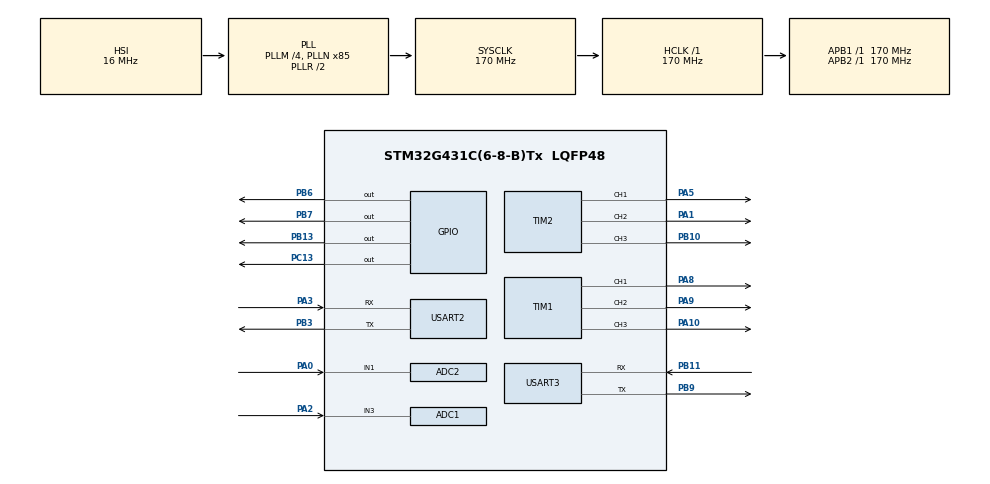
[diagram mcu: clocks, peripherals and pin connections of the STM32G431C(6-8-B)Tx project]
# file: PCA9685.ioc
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ADC1.ContinuousConvMode=ENABLE
ADC1.EnableInjectedConversion=ENABLE
ADC1.EnableRegularConversion=DISABLE
ADC1.ExternalTrigInjecConv=ADC_EXTERNALTRIGINJEC_T1_TRGO
ADC1.InjNumberOfConversion=1
ADC1.InjectedChannel-1\#ChannelInjectedConversion=ADC_CHANNEL_3
ADC1.InjectedOffsetNumber-1\#ChannelInjectedConversion=ADC_OFFSET_NONE
ADC1.InjectedRank-1\#ChannelInjectedConversion=1
ADC1.InjectedSamplingTime-1\#ChannelInjectedConversion=ADC_SAMPLETIME_2CYCLES_5
ADC1.Mode=ADC_DUALMODE_INJECSIMULT
ADC1.Rank1_Channel=ADC_CHANNEL_3
ADC1.master=1
ADC2.EnableInjectedConversion=ENABLE
ADC2.EnableInjectedOversampling=ENABLE
ADC2.EnableRegularConversion=DISABLE
ADC2.InjNumberOfConversion=1
ADC2.InjectedChannel-1\#ChannelInjectedConversion=ADC_CHANNEL_1
ADC2.InjectedOffsetNumber-1\#ChannelInjectedConversion=ADC_OFFSET_NONE
ADC2.InjectedRank-1\#ChannelInjectedConversion=1
ADC2.InjectedSamplingTime-1\#ChannelInjectedConversion=ADC_SAMPLETIME_2CYCLES_5
ADC2.Mode=ADC_DUALMODE_INJECSIMULT
ADC2.Rank1_Channel=ADC_CHANNEL_1
Dma.Request0=USART2_RX
Dma.Request1=USART2_TX
Dma.Request2=USART3_RX
Dma.Request3=USART3_TX
Dma.USART2_RX.0.Direction=DMA_PERIPH_TO_MEMORY
Dma.USART2_RX.0.EventEnable=DISABLE
Dma.USART2_RX.0.Instance=DMA1_Channel1
Dma.USART2_RX.0.MemDataAlignment=DMA_MDATAALIGN_BYTE
Dma.USART2_RX.0.MemInc=DMA_MINC_ENABLE
Dma.USART2_RX.0.Mode=DMA_NORMAL
Dma.USART2_RX.0.PeriphDataAlignment=DMA_PDATAALIGN_BYTE
Dma.USART2_RX.0.PeriphInc=DMA_PINC_DISABLE
Dma.USART2_RX.0.Polarity=HAL_DMAMUX_REQ_GEN_RISING
Dma.USART2_RX.0.Priority=DMA_PRIORITY_LOW
Dma.USART2_RX.0.RequestNumber=1
Dma.USART2_RX.0.SignalID=NONE
Dma.USART2_RX.0.SyncEnable=DISABLE
Dma.USART2_RX.0.SyncPolarity=HAL_DMAMUX_SYNC_NO_EVENT
Dma.USART2_RX.0.SyncRequestNumber=1
Dma.USART2_RX.0.SyncSignalID=NONE
Dma.USART2_TX.1.Direction=DMA_MEMORY_TO_PERIPH
Dma.USART2_TX.1.EventEnable=DISABLE
Dma.USART2_TX.1.Instance=DMA1_Channel2
Dma.USART2_TX.1.MemDataAlignment=DMA_MDATAALIGN_BYTE
Dma.USART2_TX.1.MemInc=DMA_MINC_ENABLE
Dma.USART2_TX.1.Mode=DMA_NORMAL
Dma.USART2_TX.1.PeriphDataAlignment=DMA_PDATAALIGN_BYTE
Dma.USART2_TX.1.PeriphInc=DMA_PINC_DISABLE
Dma.USART2_TX.1.Polarity=HAL_DMAMUX_REQ_GEN_RISING
Dma.USART2_TX.1.Priority=DMA_PRIORITY_LOW
Dma.USART2_TX.1.RequestNumber=1
Dma.USART2_TX.1.SignalID=NONE
Dma.USART2_TX.1.SyncEnable=DISABLE
Dma.USART2_TX.1.SyncPolarity=HAL_DMAMUX_SYNC_NO_EVENT
Dma.USART2_TX.1.SyncRequestNumber=1
Dma.USART2_TX.1.SyncSignalID=NONE
Dma.USART3_RX.2.Direction=DMA_PERIPH_TO_MEMORY
Dma.USART3_RX.2.EventEnable=DISABLE
Dma.USART3_RX.2.Instance=DMA1_Channel3
Dma.USART3_RX.2.MemDataAlignment=DMA_MDATAALIGN_BYTE
Dma.USART3_RX.2.MemInc=DMA_MINC_ENABLE
Dma.USART3_RX.2.Mode=DMA_NORMAL
Dma.USART3_RX.2.PeriphDataAlignment=DMA_PDATAALIGN_BYTE
Dma.USART3_RX.2.PeriphInc=DMA_PINC_DISABLE
Dma.USART3_RX.2.Polarity=HAL_DMAMUX_REQ_GEN_RISING
Dma.USART3_RX.2.Priority=DMA_PRIORITY_LOW
Dma.USART3_RX.2.RequestNumber=1
Dma.USART3_RX.2.SignalID=NONE
Dma.USART3_RX.2.SyncEnable=DISABLE
Dma.USART3_RX.2.SyncPolarity=HAL_DMAMUX_SYNC_NO_EVENT
Dma.USART3_RX.2.SyncRequestNumber=1
Dma.USART3_RX.2.SyncSignalID=NONE
Dma.USART3_TX.3.Direction=DMA_MEMORY_TO_PERIPH
Dma.USART3_TX.3.EventEnable=DISABLE
Dma.USART3_TX.3.Instance=DMA1_Channel4
Dma.USART3_TX.3.MemDataAlignment=DMA_MDATAALIGN_BYTE
Dma.USART3_TX.3.MemInc=DMA_MINC_ENABLE
Dma.USART3_TX.3.Mode=DMA_NORMAL
Dma.USART3_TX.3.PeriphDataAlignment=DMA_PDATAALIGN_BYTE
Dma.USART3_TX.3.PeriphInc=DMA_PINC_DISABLE
Dma.USART3_TX.3.Polarity=HAL_DMAMUX_REQ_GEN_RISING
Dma.USART3_TX.3.Priority=DMA_PRIORITY_LOW
Dma.USART3_TX.3.RequestNumber=1
Dma.USART3_TX.3.SignalID=NONE
Dma.USART3_TX.3.SyncEnable=DISABLE
Dma.USART3_TX.3.SyncPolarity=HAL_DMAMUX_SYNC_NO_EVENT
Dma.USART3_TX.3.SyncRequestNumber=1
Dma.USART3_TX.3.SyncSignalID=NONE
Mcu.Family=STM32G4
Mcu.Name=STM32G431C(6-8-B)Tx
Mcu.Package=LQFP48
Mcu.UserConstants=speed_calc_freq,motor_speed_calc_freq
NVIC.ADC1_2_IRQn=true\:0\:0\:false\:false\:true\:true\:true\:true
NVIC.DMA1_Channel1_IRQn=true\:0\:0\:false\:false\:true\:false\:true\:true
NVIC.DMA1_Channel2_IRQn=true\:0\:0\:false\:false\:true\:false\:true\:true
NVIC.DMA1_Channel3_IRQn=true\:0\:0\:false\:false\:true\:false\:true\:true
NVIC.DMA1_Channel4_IRQn=true\:0\:0\:false\:false\:true\:false\:true\:true
NVIC.PriorityGroup=NVIC_PRIORITYGROUP_4
NVIC.TIM4_IRQn=true\:0\:0\:false\:false\:true\:true\:true\:true
NVIC.USART2_IRQn=true\:0\:0\:false\:false\:true\:true\:true\:true
NVIC.USART3_IRQn=true\:0\:0\:false\:false\:true\:true\:true\:true
PA0.Mode=IN1-Single-Ended
PA0.Signal=ADC2_IN1
PA1.Signal=S_TIM2_CH2
PA10.Signal=S_TIM1_CH3
PA13.Mode=Serial_Wire
PA13.Signal=SYS_JTMS-SWDIO
PA14.Mode=Serial_Wire
PA14.Signal=SYS_JTCK-SWCLK
PA2.Mode=IN3-Single-Ended
PA2.Signal=ADC1_IN3
PA3.Mode=Asynchronous
PA3.Signal=USART2_RX
PA5.Signal=S_TIM2_CH1
PA8.Signal=S_TIM1_CH1
PA9.Signal=S_TIM1_CH2
PB10.Signal=S_TIM2_CH3
PB11.Mode=Asynchronous
PB11.Signal=USART3_RX
PB13.Signal=GPIO_Output
PB3.Mode=Asynchronous
PB3.Signal=USART2_TX
PB6.Signal=GPIO_Output
PB7.Signal=GPIO_Output
PB9.Mode=Asynchronous
PB9.Signal=USART3_TX
PC13.Signal=GPIO_Output
PF0-OSC_IN.Mode=HSE-External-Oscillator
PF0-OSC_IN.Signal=RCC_OSC_IN
PF1-OSC_OUT.Mode=HSE-External-Oscillator
PF1-OSC_OUT.Signal=RCC_OSC_OUT
ProjectManager.HeapSize=0x200
ProjectManager.StackSize=0x600
ProjectManager.TargetToolchain=MDK-ARM V5.32
RCC.ADC12Freq_Value=170000000
RCC.AHBFreq_Value=170000000
RCC.APB1Freq_Value=170000000
RCC.APB1TimFreq_Value=170000000
RCC.APB2Freq_Value=170000000
RCC.APB2TimFreq_Value=170000000
RCC.CortexFreq_Value=170000000
RCC.EXTERNAL_CLOCK_VALUE=12288000
RCC.HCLKFreq_Value=170000000
RCC.HSE_VALUE=8000000
RCC.HSI48_VALUE=48000000
RCC.HSI_VALUE=16000000
RCC.LSE_VALUE=32768
RCC.PLLM=RCC_PLLM_DIV4
RCC.PLLN=85
RCC.SYSCLKFreq_VALUE=170000000
RCC.SYSCLKSource=RCC_SYSCLKSOURCE_PLLCLK
RCC.USBFreq_Value=170000000
RCC.VCOOutputFreq_Value=340000000
SH.S_TIM1_CH1.0=TIM1_CH1,PWM Generation1 CH1
SH.S_TIM1_CH2.0=TIM1_CH2,PWM Generation2 CH2
SH.S_TIM1_CH3.0=TIM1_CH3,PWM Generation3 CH3
SH.S_TIM2_CH1.0=TIM2_CH1,PWM Generation1 CH1
SH.S_TIM2_CH2.0=TIM2_CH2,PWM Generation2 CH2
SH.S_TIM2_CH3.0=TIM2_CH3,PWM Generation3 CH3
STMicroelectronics.X-CUBE-ALGOBUILD.1.4.0.LibraryCcDSPOoLibraryJjDSPOoLibrary=true
TIM1.AutoReloadPreload=TIM_AUTORELOAD_PRELOAD_ENABLE
TIM1.Channel-PWM\ Generation1\ CH1=TIM_CHANNEL_1
TIM1.Channel-PWM\ Generation2\ CH2=TIM_CHANNEL_2
TIM1.Channel-PWM\ Generation3\ CH3=TIM_CHANNEL_3
TIM1.CounterMode=TIM_COUNTERMODE_CENTERALIGNED3
TIM1.PeriodNoDither=170*1000000/motor_pwm_freq
TIM1.RepetitionCounter=4
TIM1.TIM_MasterOutputTrigger=TIM_TRGO_UPDATE
TIM2.Channel-PWM\ Generation1\ CH1=TIM_CHANNEL_1
TIM2.Channel-PWM\ Generation2\ CH2=TIM_CHANNEL_2
TIM2.Channel-PWM\ Generation3\ CH3=TIM_CHANNEL_3
TIM2.ClockDivision=TIM_CLOCKDIVISION_DIV2
TIM4.PeriodNoDither=1000000/speed_calc_freq
TIM4.Prescaler=170-1
TIM6.AutoReloadPreload=TIM_AUTORELOAD_PRELOAD_ENABLE
TIM6.Dithering=Disable
TIM6.PeriodNoDither=1000
TIM6.Prescaler=170-1
USART2.VirtualMode-Asynchronous=VM_ASYNC
USART3.VirtualMode-Asynchronous=VM_ASYNC
VP_STMicroelectronics.X-CUBE-ALGOBUILD_VS_DSPOoLibraryJjLibrary_1.4.0_1.4.0.Mode=DSPOoLibraryJjLibrary
VP_SYS_VS_DBSignals.Mode=DisableDeadBatterySignals
VP_TIM1_VS_ClockSourceINT.Mode=Internal
VP_TIM2_VS_ClockSourceINT.Mode=Internal
VP_TIM4_VS_ClockSourceINT.Mode=Internal
VP_TIM6_VS_ClockSourceINT.Mode=Enable_Timer
board=custom

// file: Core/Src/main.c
/* USER CODE BEGIN Header */
/**
  ******************************************************************************
  * @file           : main.c
  * @brief          : Main program body
  ******************************************************************************
  * @attention
  *
  * Copyright (c) 2025 STMicroelectronics.
  * All rights reserved.
  *
  * This software is licensed under terms that can be found in the LICENSE file
  * in the root directory of this software component.
  * If no LICENSE file comes with this software, it is provided AS-IS.
  *
  ******************************************************************************
  */
/* USER CODE END Header */
#include "main.h"
#include "adc.h"
#include "dma.h"
#include "tim.h"
#include "usart.h"
#include "gpio.h"

/* USER CODE BEGIN Includes */
#include "bsp_pca9685.h"
#include <stdio.h>
#include <foc.h>
#include <stdio.h>
#include "motor_runtime_param.h"
#include "foc.h"

#include "arm_math.h"
#include "MagneticSensor.h"
#include "filter.h"
int fputc(int c, FILE *stream)
{
  uint8_t ch[] = {(uint8_t)c};
  HAL_UART_Transmit(&huart2, ch, 1, HAL_MAX_DELAY);
  return c;
}
/* USER CODE END Includes */

void SystemClock_Config(void);
/* USER CODE BEGIN PFP */
#define DLY_TIM_Handle  (&htim6)
void delay_us(uint32_t nus)
{
	__HAL_TIM_SET_COUNTER(DLY_TIM_Handle, 0);
	__HAL_TIM_ENABLE(DLY_TIM_Handle);
	while (__HAL_TIM_GET_COUNTER(DLY_TIM_Handle) < nus)
	{
	}
	__HAL_TIM_DISABLE(DLY_TIM_Handle);
}

// // ���ã�Delay_us_Asm(170); // 170 cycles �� 1us��170MHz�£�
void delay_1ms(uint32_t Delay)
{
    delay_us(Delay * 1000); // 170MHz�£�1us��Լ��Ҫ170������
}
uint8_t receivedata[8];
void HAL_UARTEx_RxEventCallback(UART_HandleTypeDef *huart, uint16_t Size)
{
	// printf("suc\n");
	if(huart == &huart3){
		if(receivedata[0] == 0xAA &&receivedata[1] == 0xFF && receivedata[2] == 0x00&& receivedata[3] == 0x20)
			{
                  motor_control_context.speed = receivedata[4];
		}

	}
//	receivedata_1 = {0,0,0,0,0,0,0,0};
	HAL_UARTEx_ReceiveToIdle_DMA(&huart3,receivedata,sizeof(receivedata));

	// __HAL_DMA_DISABLE_IT(&hdma_usart2_rx,DMA_IT_HT);
}
/* USER CODE END PFP */

/* USER CODE BEGIN 0 */
void HAL_ADCEx_InjectedConvCpltCallback(ADC_HandleTypeDef *hadc)
{
    if (hadc->Instance == ADC1)
  {

  }
}
extern motor_control_context_t motor_control_context;

float _motor_i_d = 0;
float _motor_i_q = 0.9;
  extern float B_Gain_c;

//速度环PID
extern float P_Gain_s;      // 比例增益
 extern   float I_Gain_s;      // 积分增益
  extern  float B_Gain_s;      // 抗饱和增益

extern  arm_pid_instance_f32 pid_speed;
extern float encoder_angle;
extern float motor_speed;
/* USER CODE END 0 */

int main(void)
{

  /* MCU Configuration--------------------------------------------------------*/

  /* Reset of all peripherals, Initializes the Flash interface and the Systick. */
  HAL_Init();

  /* Configure the system clock */
  SystemClock_Config();

  /* Initialize all configured peripherals */
  MX_GPIO_Init();
  MX_DMA_Init();
  MX_TIM4_Init();
  MX_TIM6_Init();
  MX_TIM1_Init();
  MX_TIM2_Init();
  MX_USART2_UART_Init();
  MX_ADC1_Init();
  MX_ADC2_Init();
  MX_USART3_UART_Init();
  /* USER CODE BEGIN 2 */
//      HAL_ADCEx_Calibration_Start(&hadc1);
//   HAL_ADCEx_Calibration_Start(&hadc2);
  MagneticSensor_Init();
  set_motor_pid(
      2, 0, 7,
      0.3, 0.001, 0,
      1.0, 0.001, 0,
      1.5, 0.001, 0);

  extern uint8_t mt6701_rx_data[3];
  HAL_GPIO_WritePin(GPIOA, GPIO_PIN_4, GPIO_PIN_RESET);
//  HAL_SPI_TransmitReceive_DMA(&hspi1, mt6701_rx_data, mt6701_rx_data, 3);
  HAL_Delay(10); // 延时一会，让角度变量被赋值，不然默认角度是0
  HAL_TIM_PWM_Start(&htim1, TIM_CHANNEL_1);
  HAL_TIM_PWM_Start(&htim1, TIM_CHANNEL_2);
  HAL_TIM_PWM_Start(&htim1, TIM_CHANNEL_3);
  HAL_TIM_Base_Start_IT(&htim4);
//  HAL_ADCEx_Calibration_Start(&hadc1);
//  HAL_ADCEx_Calibration_Start(&hadc2);
//  HAL_ADCEx_InjectedStart_IT(&hadc1);
//  HAL_ADCEx_InjectedStart(&hadc2);
  set_pwm_duty(0.5, 0, 0);              // d轴强拖，形成SVPWM模型中的基础矢量1，即对应转子零度位置
  HAL_Delay(400);                       // 保持一会
  rotor_zero_angle = encoder_angle;
  set_pwm_duty(0, 0, 0);                // 松开电机
  HAL_Delay(100);
  /* USER CODE END 2 */

  /* Infinite loop */
  /* USER CODE BEGIN WHILE */
//   motor_control_context.torque_norm_d = 0;
//   motor_control_context.torque_norm_q = 0.9;
//  motor_control_context.type = control_type_torque;
  HAL_Delay(1000);
//  motor_control_context.position = deg2rad(90);
//  motor_control_context.type = control_type_position;
  // 速度模式
  motor_control_context.speed = -1000;       //每秒转30弧度
  motor_control_context.type = control_type_speed;
HAL_GPIO_WritePin(GPIOB, GPIO_PIN_13, GPIO_PIN_SET); // MT6701上电
  /* USER CODE END 2 */

   /* Infinite loop */
  /* USER CODE BEGIN WHILE */
  while (1)
  {

    printf("Encoder Angle: %.2f, Motor Logic Angle: %.2f, Motor Speed: %.2f\n",
           encoder_angle, motor_logic_angle, motor_speed);
           float u_1 = ADC_REFERENCE_VOLT * ((float)HAL_ADCEx_InjectedGetValue(&hadc1, ADC_INJECTED_RANK_1) / ((1 << ADC_BITS) - 1) - 0.5);
    float u_2 = ADC_REFERENCE_VOLT * ((float)HAL_ADCEx_InjectedGetValue(&hadc2, ADC_INJECTED_RANK_1) / ((1 << ADC_BITS) - 1) - 0.5);
    float i_1 = u_1 / R_SHUNT / OP_GAIN;
    float i_2 = u_2 / R_SHUNT / OP_GAIN;
    motor_i_u = i_1;
    motor_i_v = i_2;

    float i_alpha = 0;
    float i_beta = 0;
    arm_clarke_f32(motor_i_u, motor_i_v, &i_alpha, &i_beta);
    float sin_value = arm_sin_f32(rotor_logic_angle);
    float cos_value = arm_cos_f32(rotor_logic_angle);
    float _motor_i_d = 0;
    float _motor_i_q = 0;
    arm_park_f32(i_alpha, i_beta, &_motor_i_d, &_motor_i_q, sin_value, cos_value);
    float filter_alpha_i_d = 0.1;
    float filter_alpha_i_q = 0.9;
    motor_i_d = low_pass_filter(_motor_i_d, motor_i_d, filter_alpha_i_d);
    motor_i_q = low_pass_filter(_motor_i_q, motor_i_q, filter_alpha_i_q);

    switch (motor_control_context.type)
    {
    case control_type_position:
      lib_position_control(motor_control_context.position);
      break;
    case control_type_speed:
      lib_speed_control(motor_control_context.speed);
      break;
    case control_type_torque:
      lib_torque_control(motor_control_context.torque_norm_d, motor_control_context.torque_norm_q);
      break;
    case control_type_speed_torque:
      lib_speed_torque_control(motor_control_context.speed, motor_control_context.max_torque_norm);
      break;
    case control_type_position_speed_torque:
      lib_position_speed_torque_control(motor_control_context.position, motor_control_context.max_speed, motor_control_context.max_torque_norm);
      break;
    default:
      break;
    }
   for (size_t i = 0; i < 360; i += 20)
   {
     HAL_Delay(2);
     foc_forward(0, 0.9, deg2rad(i));

   }
    /* USER CODE END WHILE */

  }
}

void SystemClock_Config(void)
{
  RCC_OscInitTypeDef RCC_OscInitStruct = {0};
  RCC_ClkInitTypeDef RCC_ClkInitStruct = {0};

  /** Configure the main internal regulator output voltage
  */
  HAL_PWREx_ControlVoltageScaling(PWR_REGULATOR_VOLTAGE_SCALE1_BOOST);

  /** Initializes the RCC Oscillators according to the specified parameters
  * in the RCC_OscInitTypeDef structure.
  */
  RCC_OscInitStruct.OscillatorType = RCC_OSCILLATORTYPE_HSI;
  RCC_OscInitStruct.HSIState = RCC_HSI_ON;
  RCC_OscInitStruct.HSICalibrationValue = RCC_HSICALIBRATION_DEFAULT;
  RCC_OscInitStruct.PLL.PLLState = RCC_PLL_ON;
  RCC_OscInitStruct.PLL.PLLSource = RCC_PLLSOURCE_HSI;
  RCC_OscInitStruct.PLL.PLLM = RCC_PLLM_DIV4;
  RCC_OscInitStruct.PLL.PLLN = 85;
  RCC_OscInitStruct.PLL.PLLP = RCC_PLLP_DIV2;
  RCC_OscInitStruct.PLL.PLLQ = RCC_PLLQ_DIV2;
  RCC_OscInitStruct.PLL.PLLR = RCC_PLLR_DIV2;
  if (HAL_RCC_OscConfig(&RCC_OscInitStruct) != HAL_OK)
  {
    Error_Handler();
  }

  /** Initializes the CPU, AHB and APB buses clocks
  */
  RCC_ClkInitStruct.ClockType = RCC_CLOCKTYPE_HCLK|RCC_CLOCKTYPE_SYSCLK
                              |RCC_CLOCKTYPE_PCLK1|RCC_CLOCKTYPE_PCLK2;
  RCC_ClkInitStruct.SYSCLKSource = RCC_SYSCLKSOURCE_PLLCLK;
  RCC_ClkInitStruct.AHBCLKDivider = RCC_SYSCLK_DIV1;
  RCC_ClkInitStruct.APB1CLKDivider = RCC_HCLK_DIV1;
  RCC_ClkInitStruct.APB2CLKDivider = RCC_HCLK_DIV1;

  if (HAL_RCC_ClockConfig(&RCC_ClkInitStruct, FLASH_LATENCY_4) != HAL_OK)
  {
    Error_Handler();
  }
}

void Error_Handler(void)
{
  __disable_irq();
  while (1)
  {
  }
}
